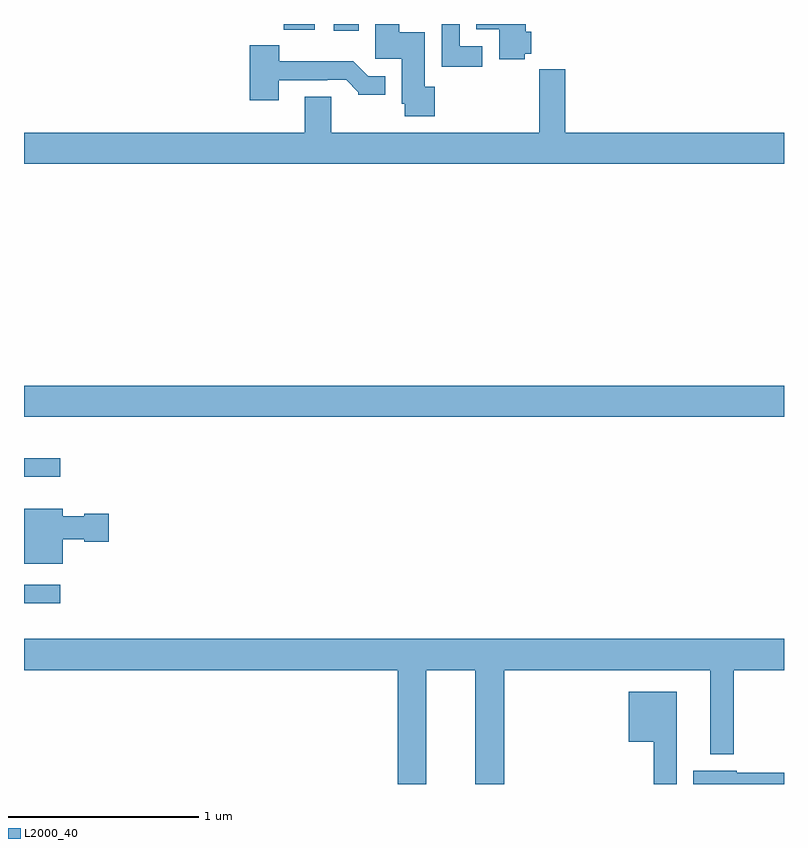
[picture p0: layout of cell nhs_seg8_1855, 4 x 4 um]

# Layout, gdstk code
import gdstk
lib = gdstk.Library(unit=1e-6, precision=1e-09)
def R(c, l, rs):  # rectangles x0, y0, x1, y1
    for r in rs: c.add(gdstk.rectangle(r[:2], r[2:], *l))
def P(c, l, *ps):  # polygons
    for p in ps: c.add(gdstk.Polygon(p, *l))
L2000_40 = (2000, 40)

nhs_seg8_1855 = lib.new_cell('nhs_seg8_1855')
R(nhs_seg8_1855, L2000_40, [(229,1116.851,229.192,1116.948), (229,1117.517,229.192,1117.614), (229,1117.832,233,1117.996), (230.63,1119.864,230.761,1119.9), (230.368,1119.869,230.53,1119.9)])
P(nhs_seg8_1855, L2000_40, [(231.161,1119.57),(231.109,1119.57),(231.109,1119.856),(230.974,1119.856),(230.974,1119.9),(230.849,1119.9),(230.849,1119.717),(230.987,1119.717),(230.987,1119.48),(231.004,1119.48),(231.004,1119.414),(231.161,1119.414)],
  [(231.636,1119.744),(231.671,1119.744),(231.671,1119.858),(231.64,1119.858),(231.64,1119.9),(231.379,1119.9),(231.379,1119.872),(231.5,1119.872),(231.5,1119.715),(231.636,1119.715)],
  [(231.412,1119.783),(231.294,1119.783),(231.294,1119.9),(231.198,1119.9),(231.198,1119.675),(231.412,1119.675)],
  [(230.341,1119.603),(230.597,1119.603),(230.597,1119.606),(230.696,1119.606),(230.76,1119.542),(230.76,1119.527),(230.902,1119.527),(230.902,1119.624),(230.811,1119.624),(230.733,1119.703),(230.344,1119.703),(230.344,1119.787),(230.189,1119.787),(230.189,1119.498),(230.341,1119.498)],
  [(233,1119.328),(231.848,1119.328),(231.848,1119.661),(231.712,1119.661),(231.712,1119.328),(230.617,1119.328),(230.617,1119.518),(230.477,1119.518),(230.477,1119.328),(229,1119.328),(229,1119.164),(233,1119.164)],
  [(229.204,1117.187),(229.317,1117.187),(229.317,1117.175),(229.447,1117.175),(229.447,1117.322),(229.317,1117.322),(229.317,1117.309),(229.204,1117.309),(229.204,1117.348),(229,1117.348),(229,1117.058),(229.204,1117.058)],
  [(231.118,1116.5),(231.374,1116.5),(231.374,1115.9),(231.527,1115.9),(231.527,1116.5),(232.613,1116.5),(232.613,1116.056),(232.735,1116.056),(232.735,1116.5),(233,1116.5),(233,1116.664),(229,1116.664),(229,1116.5),(230.966,1116.5),(230.966,1115.9),(231.118,1115.9)],
  [(232.435,1116.385),(232.184,1116.385),(232.184,1116.122),(232.314,1116.122),(232.314,1115.9),(232.435,1115.9)],
  [(233,1115.96),(232.75,1115.96),(232.75,1115.971),(232.523,1115.971),(232.523,1115.9),(233,1115.9)])

lib.write_gds('nhs_seg8_1855.gds')
